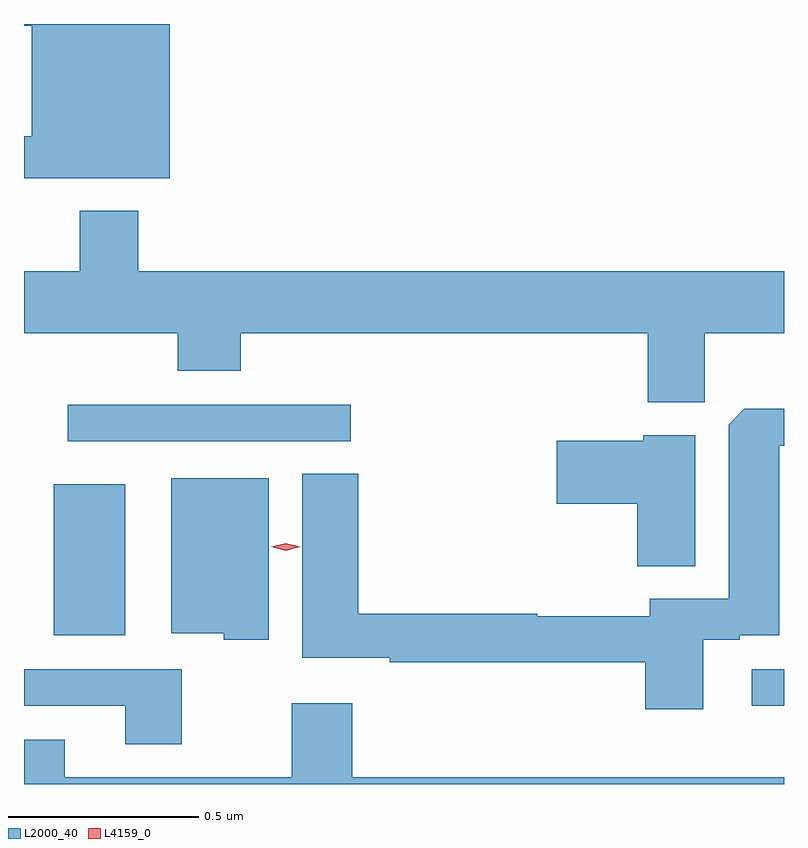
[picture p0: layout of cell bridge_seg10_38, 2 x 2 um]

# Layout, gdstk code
import gdstk
lib = gdstk.Library(unit=1e-6, precision=1e-09)
def R(c, l, rs):  # rectangles x0, y0, x1, y1
    for r in rs: c.add(gdstk.rectangle(r[:2], r[2:], *l))
def P(c, l, *ps):  # polygons
    for p in ps: c.add(gdstk.Polygon(p, *l))
L2000_40 = (2000, 40)
L4159_0 = (4159, 0)

bridge_seg10_38 = lib.new_cell('bridge_seg10_38')
R(bridge_seg10_38, L2000_40, [(939.759,1321.98,939.844,1322.076), (937.922,1322.165,938.11,1322.563), (937.959,1322.676,938.704,1322.772)])
P(bridge_seg10_38, L2000_40, [(938.227,1323.774),(937.844,1323.774),(937.844,1323.77),(937.865,1323.77),(937.865,1323.478),(937.844,1323.478),(937.844,1323.368),(938.227,1323.368)],
  [(939.635,1322.96),(939.844,1322.96),(939.844,1323.124),(938.144,1323.124),(938.144,1323.283),(937.991,1323.283),(937.991,1323.124),(937.844,1323.124),(937.844,1322.96),(938.249,1322.96),(938.249,1322.861),(938.414,1322.861),(938.414,1322.96),(939.485,1322.96),(939.485,1322.778),(939.635,1322.778)],
  [(939.631,1322.154),(939.728,1322.154),(939.728,1322.166),(939.832,1322.166),(939.832,1322.664),(939.844,1322.664),(939.844,1322.762),(939.74,1322.762),(939.698,1322.72),(939.698,1322.262),(939.491,1322.262),(939.491,1322.215),(939.195,1322.215),(939.195,1322.222),(938.723,1322.222),(938.723,1322.591),(938.576,1322.591),(938.576,1322.106),(938.806,1322.106),(938.806,1322.094),(939.479,1322.094),(939.479,1321.971),(939.631,1321.971)],
  [(939.61,1322.692),(939.474,1322.692),(939.474,1322.677),(939.246,1322.677),(939.246,1322.512),(939.458,1322.512),(939.458,1322.347),(939.61,1322.347)],
  [(938.488,1322.578),(938.231,1322.578),(938.231,1322.171),(938.37,1322.171),(938.37,1322.153),(938.488,1322.153)],
  [(938.259,1322.076),(937.844,1322.076),(937.844,1321.98),(938.111,1321.98),(938.111,1321.878),(938.259,1321.878)],
  [(939.844,1321.792),(938.708,1321.792),(938.708,1321.987),(938.548,1321.987),(938.548,1321.792),(937.951,1321.792),(937.951,1321.891),(937.844,1321.891),(937.844,1321.774),(939.844,1321.774)])
P(bridge_seg10_38, L4159_0, [(938.533,1322.388),(938.495,1322.398),(938.495,1322.398),(938.495,1322.398),(938.533,1322.408),(938.571,1322.398),(938.572,1322.398),(938.571,1322.398)])

lib.write_gds('bridge_seg10_38.gds')
